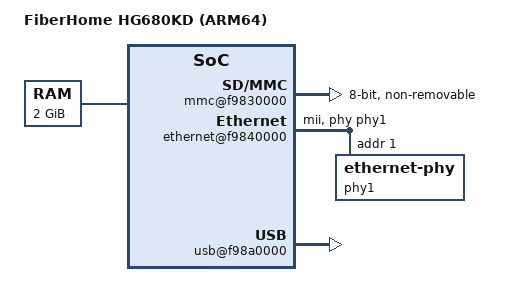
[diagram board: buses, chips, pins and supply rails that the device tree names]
// SPDX-License-Identifier: (GPL-2.0-only OR BSD-2-Clause)

#include "hi3798mv320-fiberhome-hg680kd-arm64.dts"

/ {
	model = "FiberHome HG680KD (ARM64)";

	memory@0 {
		reg = <0x0 0x00000000 0x0 0x80000000>;
	};

	reserved-memory {
		atf@8000000 {
			reg = <0x0 0x08000000 0x0 0x00400000>;
			no-map;
		};

		uboot-resmem-low@17ff8000 {
			reg = <0x0 0x17ff8000 0x0 0x00008000>;
			no-map;
		};

		uboot-resmem-high@7f67f000 {
			reg = <0x0 0x7f67f000 0x0 0x00981000>;
			no-map;
		};
	};

	emmc_clock: clock-52000000 {
		compatible = "fixed-clock";
		#clock-cells = <0>;
		clock-frequency = <52000000>;
	};
};

&{/soc} {
	peri: syscon@f8a20000 {
		compatible = "hisilicon,hi3798mv320-peri", "syscon";
		reg = <0x0 0xf8a20000 0x0 0x874>;
	};

	crg: syscon@f8a22000 {
		compatible = "hisilicon,hi3798mv320-crg", "syscon";
		reg = <0x0 0xf8a22000 0x0 0x400>;
		#clock-cells = <1>;
		#reset-cells = <2>;
	};

	gpu: gpu@f9200000 {
		compatible = "arm,mali-450";
		reg = <0x0 0xf9200000 0x0 0x40000>;
		interrupts = <GIC_SPI 94 IRQ_TYPE_LEVEL_HIGH>,
			     <GIC_SPI 94 IRQ_TYPE_LEVEL_HIGH>,
			     <GIC_SPI 94 IRQ_TYPE_LEVEL_HIGH>,
			     <GIC_SPI 94 IRQ_TYPE_LEVEL_HIGH>,
			     <GIC_SPI 94 IRQ_TYPE_LEVEL_HIGH>,
			     <GIC_SPI 94 IRQ_TYPE_LEVEL_HIGH>,
			     <GIC_SPI 94 IRQ_TYPE_LEVEL_HIGH>,
			     <GIC_SPI 94 IRQ_TYPE_LEVEL_HIGH>;
		interrupt-names = "gp", "gpmmu", "pp0", "ppmmu0",
				  "pp1", "ppmmu1", "pmu", "pp";
		clocks = <&crg 0>, <&crg 1>;
		clock-names = "bus", "core";
		resets = <&crg 0xd4 4>;
	};

	mmc@f9830000 {
		compatible = "hisilicon,hi3798mv320-emmc";
		reg = <0x0 0xf9830000 0x0 0x1000>;
		interrupts = <GIC_SPI 35 IRQ_TYPE_LEVEL_HIGH>;
		clocks = <&emmc_clock>;
		hisilicon,crg = <&crg>;
		non-removable;
		cap-mmc-highspeed;
		cap-mmc-hw-reset;
		no-sd;
		no-sdio;
		bus-width = <8>;
		max-frequency = <52000000>;
	};

	ethernet@f9840000 {
		compatible = "hisilicon,hi3798mv320-gmac";
		reg = <0x0 0xf9840000 0x0 0x1000>,
		      <0x0 0xf984300c 0x0 0x4>;
		interrupts = <GIC_SPI 80 IRQ_TYPE_LEVEL_HIGH>;
		resets = <&crg 0x3bc 0>, <&crg 0x0d0 0>;
		reset-names = "mac_core", "mac_ifc";
		phy-mode = "mii";
		phy-handle = <&phy1>;
		#address-cells = <1>;
		#size-cells = <0>;

		phy1: ethernet-phy@1 {
			reg = <1>;
		};
	};

	usb@f98a0000 {
		compatible = "hisilicon,hi3798mv320-xhci";
		reg = <0x0 0xf98a0000 0x0 0x10000>,
		      <0x0 0xf9866000 0x0 0x1000>,
		      <0x0 0xf9960000 0x0 0x1000>,
		      <0x0 0xf8ab0118 0x0 0x4>;
		reg-names = "xhci", "phy0", "phy1", "trim";
		interrupts = <GIC_SPI 64 IRQ_TYPE_LEVEL_HIGH>;
		hisilicon,crg = <&crg>;
		hisilicon,peri = <&peri>;
		usb2-lpm-disable;
	};
};
